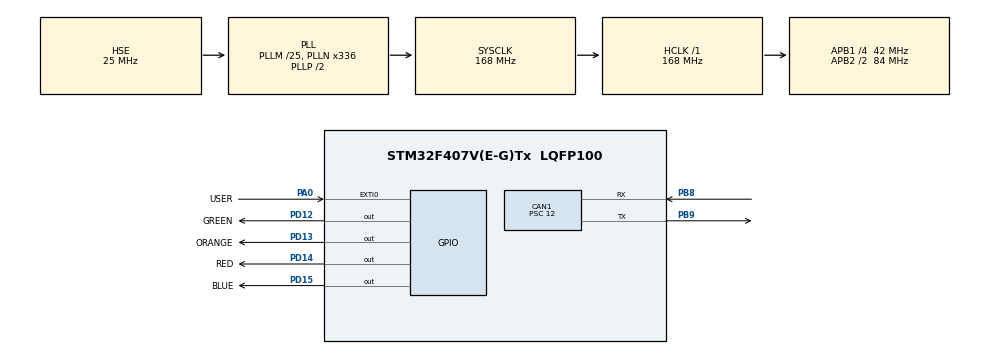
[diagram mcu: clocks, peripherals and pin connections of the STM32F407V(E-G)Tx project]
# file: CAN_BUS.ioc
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CAN1.BS1=CAN_BS1_4TQ
CAN1.BS2=CAN_BS2_2TQ
CAN1.CalculateBaudRate=500000
CAN1.CalculateTimeBit=2000
CAN1.CalculateTimeQuantum=285.7142857142857
CAN1.Prescaler=12
Mcu.Family=STM32F4
Mcu.Name=STM32F407V(E-G)Tx
Mcu.Package=LQFP100
NVIC.CAN1_RX0_IRQn=true\:0\:0\:false\:false\:true\:true\:true\:true
NVIC.PriorityGroup=NVIC_PRIORITYGROUP_4
PA0-WKUP.GPIO_Label=USER
PA0-WKUP.Signal=GPXTI0
PB8.Mode=CAN_Activate
PB8.Signal=CAN1_RX
PB9.Mode=CAN_Activate
PB9.Signal=CAN1_TX
PD12.GPIO_Label=GREEN
PD12.Signal=GPIO_Output
PD13.GPIO_Label=ORANGE
PD13.Signal=GPIO_Output
PD14.GPIO_Label=RED
PD14.Signal=GPIO_Output
PD15.GPIO_Label=BLUE
PD15.Signal=GPIO_Output
PH0-OSC_IN.Mode=HSE-External-Oscillator
PH0-OSC_IN.Signal=RCC_OSC_IN
PH1-OSC_OUT.Mode=HSE-External-Oscillator
PH1-OSC_OUT.Signal=RCC_OSC_OUT
ProjectManager.HeapSize=0x200
ProjectManager.StackSize=0x400
ProjectManager.TargetToolchain=STM32CubeIDE
RCC.48MHZClocksFreq_Value=84000000
RCC.AHBFreq_Value=168000000
RCC.APB1CLKDivider=RCC_HCLK_DIV4
RCC.APB1Freq_Value=42000000
RCC.APB1TimFreq_Value=84000000
RCC.APB2CLKDivider=RCC_HCLK_DIV2
RCC.APB2Freq_Value=84000000
RCC.APB2TimFreq_Value=168000000
RCC.CortexFreq_Value=168000000
RCC.HCLKFreq_Value=168000000
RCC.HSE_VALUE=25000000
RCC.HSI_VALUE=16000000
RCC.LSE_VALUE=32768
RCC.PLLM=25
RCC.PLLN=336
RCC.PLLSourceVirtual=RCC_PLLSOURCE_HSE
RCC.SYSCLKFreq_VALUE=168000000
RCC.SYSCLKSource=RCC_SYSCLKSOURCE_PLLCLK
RCC.VCOOutputFreq_Value=336000000
board=custom

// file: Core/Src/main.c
/* USER CODE BEGIN Header */
/**
  ******************************************************************************
  * @file           : main.c
  * @brief          : Main program body
  ******************************************************************************
  * @attention
  *
  * Copyright (c) 2024 STMicroelectronics.
  * All rights reserved.
  *
  * This software is licensed under terms that can be found in the LICENSE file
  * in the root directory of this software component.
  * If no LICENSE file comes with this software, it is provided AS-IS.
  *
  ******************************************************************************
  */
/* USER CODE END Header */
#include "main.h"

/* USER CODE BEGIN Includes */
#include <stdio.h>
#include <string.h>
/* USER CODE END Includes */

/* USER CODE BEGIN PM */
#define Board 2
/* USER CODE END PM */

CAN_HandleTypeDef hcan1;

/* USER CODE BEGIN PV */
CAN_HandleTypeDef hcan1;
CAN_FilterTypeDef Filtercan1;
CAN_TxHeaderTypeDef pTxHeader;
uint8_t aTxData[1] ={Board};
CAN_RxHeaderTypeDef pRxHeader;
uint8_t aRxData[1];
/* USER CODE END PV */

void SystemClock_Config(void);
static void MX_GPIO_Init(void);
static void MX_CAN1_Init(void);

int main(void)
{

  /* MCU Configuration--------------------------------------------------------*/

  /* Reset of all peripherals, Initializes the Flash interface and the Systick. */
  HAL_Init();

  /* Configure the system clock */
  SystemClock_Config();

  /* Initialize all configured peripherals */
  MX_GPIO_Init();
  MX_CAN1_Init();
  /* USER CODE BEGIN 2 */
    HAL_GPIO_WritePin(GPIOD, GREEN_Pin, GPIO_PIN_RESET);
    HAL_GPIO_WritePin(GPIOD, ORANGE_Pin, GPIO_PIN_RESET);
    HAL_GPIO_WritePin(GPIOD, RED_Pin, GPIO_PIN_RESET);
    HAL_GPIO_WritePin(GPIOD, BLUE_Pin, GPIO_PIN_RESET);

    Filtercan1.FilterIdHigh = 0x00;
    Filtercan1.FilterIdLow = 0x00;
    Filtercan1.FilterMaskIdHigh = 0x00;
    Filtercan1. FilterMaskIdLow = 0x00;
    Filtercan1.FilterFIFOAssignment = CAN_FILTER_FIFO0;
    Filtercan1.FilterBank = 0x00;
    Filtercan1.FilterMode = CAN_FILTERMODE_IDMASK;
    Filtercan1.FilterScale = CAN_FILTERSCALE_32BIT;
    Filtercan1.FilterActivation = CAN_FILTER_ENABLE;
    Filtercan1.SlaveStartFilterBank = 14;
    if (HAL_CAN_ConfigFilter(&hcan1, &Filtercan1)!= HAL_OK)
 		  {
 		    Error_Handler();
 		  }
   if (HAL_CAN_Start(&hcan1)!= HAL_OK)
 		  {
 		    Error_Handler();
 		  }
   if (HAL_CAN_ActivateNotification(&hcan1,CAN_IT_RX_FIFO0_MSG_PENDING)!= HAL_OK)
 		  {
 		    Error_Handler();
 		  }
  /* USER CODE END 2 */

  /* Infinite loop */
  /* USER CODE BEGIN WHILE */
  while (1)
  {
	  while (HAL_GPIO_ReadPin(GPIOA, USER_Pin) == GPIO_PIN_RESET )

	 	    HAL_GPIO_WritePin(GPIOD, GREEN_Pin, GPIO_PIN_RESET);
	 	    HAL_GPIO_WritePin(GPIOD, ORANGE_Pin, GPIO_PIN_RESET);
	 	    HAL_GPIO_WritePin(GPIOD, RED_Pin, GPIO_PIN_RESET);
	 	    HAL_GPIO_WritePin(GPIOD, BLUE_Pin, GPIO_PIN_RESET);

	 	    pTxHeader.DLC=1;
	 	    pTxHeader.ExtId=0;
	 	    pTxHeader.IDE=CAN_ID_STD;
	 	    pTxHeader.StdId=1;
	 	    pTxHeader.RTR=CAN_RTR_DATA;
	 	    pTxHeader.TransmitGlobalTime = DISABLE;
	 	    aTxData[0] = 0x04;
	 	   printf("Received Data: %x\r\n", aRxData[0]);  // Debugging statement

	 	 if (HAL_CAN_AddTxMessage(&hcan1,&pTxHeader,aTxData,(uint32_t *)CAN_TX_MAILBOX0)!= HAL_OK)
	 	     {
	 	    Error_Handler();
	 	  }
	 	 while (HAL_GPIO_ReadPin(GPIOA, USER_Pin)==GPIO_PIN_SET)
	 	         {
	 	         }
    /* USER CODE END WHILE */

  }
}

void SystemClock_Config(void)
{
  RCC_OscInitTypeDef RCC_OscInitStruct = {0};
  RCC_ClkInitTypeDef RCC_ClkInitStruct = {0};

  /** Configure the main internal regulator output voltage
  */
  __HAL_RCC_PWR_CLK_ENABLE();
  __HAL_PWR_VOLTAGESCALING_CONFIG(PWR_REGULATOR_VOLTAGE_SCALE1);

  /** Initializes the RCC Oscillators according to the specified parameters
  * in the RCC_OscInitTypeDef structure.
  */
  RCC_OscInitStruct.OscillatorType = RCC_OSCILLATORTYPE_HSE;
  RCC_OscInitStruct.HSEState = RCC_HSE_ON;
  RCC_OscInitStruct.PLL.PLLState = RCC_PLL_ON;
  RCC_OscInitStruct.PLL.PLLSource = RCC_PLLSOURCE_HSE;
  RCC_OscInitStruct.PLL.PLLM = 25;
  RCC_OscInitStruct.PLL.PLLN = 336;
  RCC_OscInitStruct.PLL.PLLP = RCC_PLLP_DIV2;
  RCC_OscInitStruct.PLL.PLLQ = 4;
  if (HAL_RCC_OscConfig(&RCC_OscInitStruct) != HAL_OK)
  {
    Error_Handler();
  }

  /** Initializes the CPU, AHB and APB buses clocks
  */
  RCC_ClkInitStruct.ClockType = RCC_CLOCKTYPE_HCLK|RCC_CLOCKTYPE_SYSCLK
                              |RCC_CLOCKTYPE_PCLK1|RCC_CLOCKTYPE_PCLK2;
  RCC_ClkInitStruct.SYSCLKSource = RCC_SYSCLKSOURCE_PLLCLK;
  RCC_ClkInitStruct.AHBCLKDivider = RCC_SYSCLK_DIV1;
  RCC_ClkInitStruct.APB1CLKDivider = RCC_HCLK_DIV4;
  RCC_ClkInitStruct.APB2CLKDivider = RCC_HCLK_DIV2;

  if (HAL_RCC_ClockConfig(&RCC_ClkInitStruct, FLASH_LATENCY_5) != HAL_OK)
  {
    Error_Handler();
  }
}

static void MX_CAN1_Init(void)
{

  hcan1.Instance = CAN1;
  hcan1.Init.Prescaler = 12;
  hcan1.Init.Mode = CAN_MODE_NORMAL;
  hcan1.Init.SyncJumpWidth = CAN_SJW_1TQ;
  hcan1.Init.TimeSeg1 = CAN_BS1_4TQ;
  hcan1.Init.TimeSeg2 = CAN_BS2_2TQ;
  hcan1.Init.TimeTriggeredMode = DISABLE;
  hcan1.Init.AutoBusOff = DISABLE;
  hcan1.Init.AutoWakeUp = DISABLE;
  hcan1.Init.AutoRetransmission = DISABLE;
  hcan1.Init.ReceiveFifoLocked = DISABLE;
  hcan1.Init.TransmitFifoPriority = DISABLE;
  if (HAL_CAN_Init(&hcan1) != HAL_OK)
  {
    Error_Handler();
  }

}

static void MX_GPIO_Init(void)
{
  GPIO_InitTypeDef GPIO_InitStruct = {0};

  /* GPIO Ports Clock Enable */
  __HAL_RCC_GPIOH_CLK_ENABLE();
  __HAL_RCC_GPIOA_CLK_ENABLE();
  __HAL_RCC_GPIOD_CLK_ENABLE();
  __HAL_RCC_GPIOB_CLK_ENABLE();

  /*Configure GPIO pin Output Level */
  HAL_GPIO_WritePin(GPIOD, GREEN_Pin|ORANGE_Pin|RED_Pin|BLUE_Pin, GPIO_PIN_RESET);

  /*Configure GPIO pin : USER_Pin */
  GPIO_InitStruct.Pin = USER_Pin;
  GPIO_InitStruct.Mode = GPIO_MODE_IT_RISING;
  GPIO_InitStruct.Pull = GPIO_NOPULL;
  HAL_GPIO_Init(USER_GPIO_Port, &GPIO_InitStruct);

  /*Configure GPIO pins : GREEN_Pin ORANGE_Pin RED_Pin BLUE_Pin */
  GPIO_InitStruct.Pin = GREEN_Pin|ORANGE_Pin|RED_Pin|BLUE_Pin;
  GPIO_InitStruct.Mode = GPIO_MODE_OUTPUT_PP;
  GPIO_InitStruct.Pull = GPIO_NOPULL;
  GPIO_InitStruct.Speed = GPIO_SPEED_FREQ_LOW;
  HAL_GPIO_Init(GPIOD, &GPIO_InitStruct);

}

/* USER CODE BEGIN 4 */
void HAL_CAN_RxFifo0MsgPendingCallback(CAN_HandleTypeDef *hcan)
{
	if (HAL_CAN_GetRxMessage(hcan, CAN_RX_FIFO0,&pRxHeader,aRxData)!= HAL_OK)
		  {
		     Error_Handler();
		  }
	if (pRxHeader.StdId = 0x12)
	  {
	    if (aRxData[0] == 0x01)
	    {
	      HAL_GPIO_WritePin(GPIOD, GREEN_Pin, GPIO_PIN_SET);
	      HAL_GPIO_WritePin(GPIOD, ORANGE_Pin, GPIO_PIN_RESET);
	      HAL_GPIO_WritePin(GPIOD, RED_Pin, GPIO_PIN_RESET);
	      HAL_GPIO_WritePin(GPIOD, BLUE_Pin, GPIO_PIN_RESET);
	    }
	    if (aRxData[0] == 0x02)
	    {
	      HAL_GPIO_WritePin(GPIOD, GREEN_Pin, GPIO_PIN_SET);
	      HAL_GPIO_WritePin(GPIOD, ORANGE_Pin, GPIO_PIN_SET);
	      HAL_GPIO_WritePin(GPIOD, RED_Pin, GPIO_PIN_RESET);
	      HAL_GPIO_WritePin(GPIOD, BLUE_Pin, GPIO_PIN_RESET);
	    }
	    if (aRxData[0] == 0x03)
	    {
	      HAL_GPIO_WritePin(GPIOD, GREEN_Pin, GPIO_PIN_SET);
	      HAL_GPIO_WritePin(GPIOD, ORANGE_Pin, GPIO_PIN_SET);
	      HAL_GPIO_WritePin(GPIOD, RED_Pin, GPIO_PIN_SET);
	      HAL_GPIO_WritePin(GPIOD, BLUE_Pin, GPIO_PIN_RESET);
	    }
	    if (aRxData[0] == 0x04)
	  	    {
	  	      HAL_GPIO_WritePin(GPIOD, GREEN_Pin, GPIO_PIN_SET);
	  	      HAL_GPIO_WritePin(GPIOD, ORANGE_Pin, GPIO_PIN_SET);
	  	      HAL_GPIO_WritePin(GPIOD, RED_Pin, GPIO_PIN_SET);
	  	      HAL_GPIO_WritePin(GPIOD, BLUE_Pin, GPIO_PIN_SET);
	  	    }
	  }
}
/* USER CODE END 4 */

void Error_Handler(void)
{
  __disable_irq();
  while (1)
  {
  }
}
